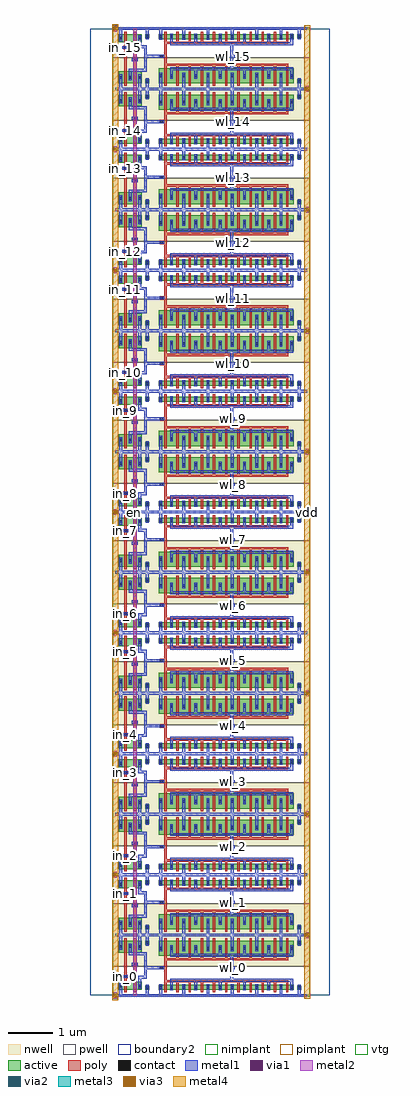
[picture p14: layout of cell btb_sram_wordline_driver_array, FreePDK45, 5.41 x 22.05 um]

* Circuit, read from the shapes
.subckt btb_sram_wordline_driver_array en gnd in_0 in_1 in_10 in_11 in_12 in_13 in_14 in_15 in_2 in_3 in_4 in_5 in_6 in_7 in_8 in_9 vdd wl_0 wl_1 wl_10 wl_11 wl_12 wl_13 wl_14 wl_15 wl_2 wl_3 wl_4 wl_5 wl_6 wl_7 wl_8 wl_9
M1 btb_sram_wordline_driver_0/btb_sram_pnand2_0/btb_sram_nmos_m1_w0_180_sm1_dactive_2/D in_0 gnd gnd nfet w=0.18u l=0.05u
M2 btb_sram_wordline_driver_1/btb_sram_pnand2_0/btb_sram_nmos_m1_w0_180_sm1_dactive_2/D in_1 gnd gnd nfet w=0.18u l=0.05u
M3 btb_sram_wordline_driver_2/btb_sram_pnand2_0/btb_sram_nmos_m1_w0_180_sm1_dactive_2/D in_2 gnd gnd nfet w=0.18u l=0.05u
M4 btb_sram_wordline_driver_3/btb_sram_pnand2_0/btb_sram_nmos_m1_w0_180_sm1_dactive_2/D in_3 gnd gnd nfet w=0.18u l=0.05u
M5 btb_sram_wordline_driver_4/btb_sram_pnand2_0/btb_sram_nmos_m1_w0_180_sm1_dactive_2/D in_4 gnd gnd nfet w=0.18u l=0.05u
M6 btb_sram_wordline_driver_5/btb_sram_pnand2_0/btb_sram_nmos_m1_w0_180_sm1_dactive_2/D in_5 gnd gnd nfet w=0.18u l=0.05u
M7 btb_sram_wordline_driver_6/btb_sram_pnand2_0/btb_sram_nmos_m1_w0_180_sm1_dactive_2/D in_6 gnd gnd nfet w=0.18u l=0.05u
M8 btb_sram_wordline_driver_7/btb_sram_pnand2_0/btb_sram_nmos_m1_w0_180_sm1_dactive_2/D in_7 gnd gnd nfet w=0.18u l=0.05u
M9 btb_sram_wordline_driver_8/btb_sram_pnand2_0/btb_sram_nmos_m1_w0_180_sm1_dactive_2/D in_8 gnd gnd nfet w=0.18u l=0.05u
M10 btb_sram_wordline_driver_9/btb_sram_pnand2_0/btb_sram_nmos_m1_w0_180_sm1_dactive_2/D in_9 gnd gnd nfet w=0.18u l=0.05u
M11 btb_sram_wordline_driver_10/btb_sram_pnand2_0/btb_sram_nmos_m1_w0_180_sm1_dactive_2/D in_10 gnd gnd nfet w=0.18u l=0.05u
M12 btb_sram_wordline_driver_11/btb_sram_pnand2_0/btb_sram_nmos_m1_w0_180_sm1_dactive_2/D in_11 gnd gnd nfet w=0.18u l=0.05u
M13 btb_sram_wordline_driver_12/btb_sram_pnand2_0/btb_sram_nmos_m1_w0_180_sm1_dactive_2/D in_12 gnd gnd nfet w=0.18u l=0.05u
M14 btb_sram_wordline_driver_13/btb_sram_pnand2_0/btb_sram_nmos_m1_w0_180_sm1_dactive_2/D in_13 gnd gnd nfet w=0.18u l=0.05u
M15 btb_sram_wordline_driver_14/btb_sram_pnand2_0/btb_sram_nmos_m1_w0_180_sm1_dactive_2/D in_14 gnd gnd nfet w=0.18u l=0.05u
M16 btb_sram_wordline_driver_15/btb_sram_pnand2_0/btb_sram_nmos_m1_w0_180_sm1_dactive_2/D in_15 gnd gnd nfet w=0.18u l=0.05u
M17 btb_sram_wordline_driver_0/btb_sram_pinv_0_1/A en btb_sram_wordline_driver_0/btb_sram_pnand2_0/btb_sram_nmos_m1_w0_180_sm1_dactive_2/D gnd nfet w=0.18u l=0.05u
M18 btb_sram_wordline_driver_1/btb_sram_pinv_0_1/A en btb_sram_wordline_driver_1/btb_sram_pnand2_0/btb_sram_nmos_m1_w0_180_sm1_dactive_2/D gnd nfet w=0.18u l=0.05u
M19 btb_sram_wordline_driver_2/btb_sram_pinv_0_1/A en btb_sram_wordline_driver_2/btb_sram_pnand2_0/btb_sram_nmos_m1_w0_180_sm1_dactive_2/D gnd nfet w=0.18u l=0.05u
M20 btb_sram_wordline_driver_3/btb_sram_pinv_0_1/A en btb_sram_wordline_driver_3/btb_sram_pnand2_0/btb_sram_nmos_m1_w0_180_sm1_dactive_2/D gnd nfet w=0.18u l=0.05u
M21 btb_sram_wordline_driver_4/btb_sram_pinv_0_1/A en btb_sram_wordline_driver_4/btb_sram_pnand2_0/btb_sram_nmos_m1_w0_180_sm1_dactive_2/D gnd nfet w=0.18u l=0.05u
M22 btb_sram_wordline_driver_5/btb_sram_pinv_0_1/A en btb_sram_wordline_driver_5/btb_sram_pnand2_0/btb_sram_nmos_m1_w0_180_sm1_dactive_2/D gnd nfet w=0.18u l=0.05u
M23 btb_sram_wordline_driver_6/btb_sram_pinv_0_1/A en btb_sram_wordline_driver_6/btb_sram_pnand2_0/btb_sram_nmos_m1_w0_180_sm1_dactive_2/D gnd nfet w=0.18u l=0.05u
M24 btb_sram_wordline_driver_7/btb_sram_pinv_0_1/A en btb_sram_wordline_driver_7/btb_sram_pnand2_0/btb_sram_nmos_m1_w0_180_sm1_dactive_2/D gnd nfet w=0.18u l=0.05u
M25 btb_sram_wordline_driver_8/btb_sram_pinv_0_1/A en btb_sram_wordline_driver_8/btb_sram_pnand2_0/btb_sram_nmos_m1_w0_180_sm1_dactive_2/D gnd nfet w=0.18u l=0.05u
M26 btb_sram_wordline_driver_9/btb_sram_pinv_0_1/A en btb_sram_wordline_driver_9/btb_sram_pnand2_0/btb_sram_nmos_m1_w0_180_sm1_dactive_2/D gnd nfet w=0.18u l=0.05u
M27 btb_sram_wordline_driver_10/btb_sram_pinv_0_1/A en btb_sram_wordline_driver_10/btb_sram_pnand2_0/btb_sram_nmos_m1_w0_180_sm1_dactive_2/D gnd nfet w=0.18u l=0.05u
M28 btb_sram_wordline_driver_11/btb_sram_pinv_0_1/A en btb_sram_wordline_driver_11/btb_sram_pnand2_0/btb_sram_nmos_m1_w0_180_sm1_dactive_2/D gnd nfet w=0.18u l=0.05u
M29 btb_sram_wordline_driver_12/btb_sram_pinv_0_1/A en btb_sram_wordline_driver_12/btb_sram_pnand2_0/btb_sram_nmos_m1_w0_180_sm1_dactive_2/D gnd nfet w=0.18u l=0.05u
M30 btb_sram_wordline_driver_13/btb_sram_pinv_0_1/A en btb_sram_wordline_driver_13/btb_sram_pnand2_0/btb_sram_nmos_m1_w0_180_sm1_dactive_2/D gnd nfet w=0.18u l=0.05u
M31 btb_sram_wordline_driver_14/btb_sram_pinv_0_1/A en btb_sram_wordline_driver_14/btb_sram_pnand2_0/btb_sram_nmos_m1_w0_180_sm1_dactive_2/D gnd nfet w=0.18u l=0.05u
M32 btb_sram_wordline_driver_15/btb_sram_pinv_0_1/A en btb_sram_wordline_driver_15/btb_sram_pnand2_0/btb_sram_nmos_m1_w0_180_sm1_dactive_2/D gnd nfet w=0.18u l=0.05u
M33 wl_0 btb_sram_wordline_driver_0/btb_sram_pinv_0_1/A gnd gnd nfet w=0.115u l=0.05u m=11
M34 wl_1 btb_sram_wordline_driver_1/btb_sram_pinv_0_1/A gnd gnd nfet w=0.115u l=0.05u m=11
M35 wl_2 btb_sram_wordline_driver_2/btb_sram_pinv_0_1/A gnd gnd nfet w=0.115u l=0.05u m=11
M36 wl_3 btb_sram_wordline_driver_3/btb_sram_pinv_0_1/A gnd gnd nfet w=0.115u l=0.05u m=11
M37 wl_4 btb_sram_wordline_driver_4/btb_sram_pinv_0_1/A gnd gnd nfet w=0.115u l=0.05u m=11
M38 wl_5 btb_sram_wordline_driver_5/btb_sram_pinv_0_1/A gnd gnd nfet w=0.115u l=0.05u m=11
M39 wl_6 btb_sram_wordline_driver_6/btb_sram_pinv_0_1/A gnd gnd nfet w=0.115u l=0.05u m=11
M40 wl_7 btb_sram_wordline_driver_7/btb_sram_pinv_0_1/A gnd gnd nfet w=0.115u l=0.05u m=11
M41 wl_8 btb_sram_wordline_driver_8/btb_sram_pinv_0_1/A gnd gnd nfet w=0.115u l=0.05u m=11
M42 wl_9 btb_sram_wordline_driver_9/btb_sram_pinv_0_1/A gnd gnd nfet w=0.115u l=0.05u m=11
M43 wl_10 btb_sram_wordline_driver_10/btb_sram_pinv_0_1/A gnd gnd nfet w=0.115u l=0.05u m=11
M44 wl_11 btb_sram_wordline_driver_11/btb_sram_pinv_0_1/A gnd gnd nfet w=0.115u l=0.05u m=11
M45 wl_12 btb_sram_wordline_driver_12/btb_sram_pinv_0_1/A gnd gnd nfet w=0.115u l=0.05u m=11
M46 wl_13 btb_sram_wordline_driver_13/btb_sram_pinv_0_1/A gnd gnd nfet w=0.115u l=0.05u m=11
M47 wl_14 btb_sram_wordline_driver_14/btb_sram_pinv_0_1/A gnd gnd nfet w=0.115u l=0.05u m=11
M48 wl_15 btb_sram_wordline_driver_15/btb_sram_pinv_0_1/A gnd gnd nfet w=0.115u l=0.05u m=11
M49 btb_sram_wordline_driver_0/btb_sram_pinv_0_1/A in_0 vdd vdd pfet w=0.27u l=0.05u
M50 btb_sram_wordline_driver_1/btb_sram_pinv_0_1/A in_1 vdd vdd pfet w=0.27u l=0.05u
M51 btb_sram_wordline_driver_2/btb_sram_pinv_0_1/A in_2 vdd vdd pfet w=0.27u l=0.05u
M52 btb_sram_wordline_driver_3/btb_sram_pinv_0_1/A in_3 vdd vdd pfet w=0.27u l=0.05u
M53 btb_sram_wordline_driver_4/btb_sram_pinv_0_1/A in_4 vdd vdd pfet w=0.27u l=0.05u
M54 btb_sram_wordline_driver_5/btb_sram_pinv_0_1/A in_5 vdd vdd pfet w=0.27u l=0.05u
M55 btb_sram_wordline_driver_6/btb_sram_pinv_0_1/A in_6 vdd vdd pfet w=0.27u l=0.05u
M56 btb_sram_wordline_driver_7/btb_sram_pinv_0_1/A in_7 vdd vdd pfet w=0.27u l=0.05u
M57 btb_sram_wordline_driver_8/btb_sram_pinv_0_1/A in_8 vdd vdd pfet w=0.27u l=0.05u
M58 btb_sram_wordline_driver_9/btb_sram_pinv_0_1/A in_9 vdd vdd pfet w=0.27u l=0.05u
M59 btb_sram_wordline_driver_10/btb_sram_pinv_0_1/A in_10 vdd vdd pfet w=0.27u l=0.05u
M60 btb_sram_wordline_driver_11/btb_sram_pinv_0_1/A in_11 vdd vdd pfet w=0.27u l=0.05u
M61 btb_sram_wordline_driver_12/btb_sram_pinv_0_1/A in_12 vdd vdd pfet w=0.27u l=0.05u
M62 btb_sram_wordline_driver_13/btb_sram_pinv_0_1/A in_13 vdd vdd pfet w=0.27u l=0.05u
M63 btb_sram_wordline_driver_14/btb_sram_pinv_0_1/A in_14 vdd vdd pfet w=0.27u l=0.05u
M64 btb_sram_wordline_driver_15/btb_sram_pinv_0_1/A in_15 vdd vdd pfet w=0.27u l=0.05u
M65 vdd en btb_sram_wordline_driver_0/btb_sram_pinv_0_1/A vdd pfet w=0.27u l=0.05u
M66 vdd en btb_sram_wordline_driver_1/btb_sram_pinv_0_1/A vdd pfet w=0.27u l=0.05u
M67 vdd en btb_sram_wordline_driver_2/btb_sram_pinv_0_1/A vdd pfet w=0.27u l=0.05u
M68 vdd en btb_sram_wordline_driver_3/btb_sram_pinv_0_1/A vdd pfet w=0.27u l=0.05u
M69 vdd en btb_sram_wordline_driver_4/btb_sram_pinv_0_1/A vdd pfet w=0.27u l=0.05u
M70 vdd en btb_sram_wordline_driver_5/btb_sram_pinv_0_1/A vdd pfet w=0.27u l=0.05u
M71 vdd en btb_sram_wordline_driver_6/btb_sram_pinv_0_1/A vdd pfet w=0.27u l=0.05u
M72 vdd en btb_sram_wordline_driver_7/btb_sram_pinv_0_1/A vdd pfet w=0.27u l=0.05u
M73 vdd en btb_sram_wordline_driver_8/btb_sram_pinv_0_1/A vdd pfet w=0.27u l=0.05u
M74 vdd en btb_sram_wordline_driver_9/btb_sram_pinv_0_1/A vdd pfet w=0.27u l=0.05u
M75 vdd en btb_sram_wordline_driver_10/btb_sram_pinv_0_1/A vdd pfet w=0.27u l=0.05u
M76 vdd en btb_sram_wordline_driver_11/btb_sram_pinv_0_1/A vdd pfet w=0.27u l=0.05u
M77 vdd en btb_sram_wordline_driver_12/btb_sram_pinv_0_1/A vdd pfet w=0.27u l=0.05u
M78 vdd en btb_sram_wordline_driver_13/btb_sram_pinv_0_1/A vdd pfet w=0.27u l=0.05u
M79 vdd en btb_sram_wordline_driver_14/btb_sram_pinv_0_1/A vdd pfet w=0.27u l=0.05u
M80 vdd en btb_sram_wordline_driver_15/btb_sram_pinv_0_1/A vdd pfet w=0.27u l=0.05u
M81 wl_0 btb_sram_wordline_driver_0/btb_sram_pinv_0_1/A vdd vdd pfet w=0.3425u l=0.05u m=11
M82 wl_1 btb_sram_wordline_driver_1/btb_sram_pinv_0_1/A vdd vdd pfet w=0.3425u l=0.05u m=11
M83 wl_2 btb_sram_wordline_driver_2/btb_sram_pinv_0_1/A vdd vdd pfet w=0.3425u l=0.05u m=11
M84 wl_3 btb_sram_wordline_driver_3/btb_sram_pinv_0_1/A vdd vdd pfet w=0.3425u l=0.05u m=11
M85 wl_4 btb_sram_wordline_driver_4/btb_sram_pinv_0_1/A vdd vdd pfet w=0.3425u l=0.05u m=11
M86 wl_5 btb_sram_wordline_driver_5/btb_sram_pinv_0_1/A vdd vdd pfet w=0.3425u l=0.05u m=11
M87 wl_6 btb_sram_wordline_driver_6/btb_sram_pinv_0_1/A vdd vdd pfet w=0.3425u l=0.05u m=11
M88 wl_7 btb_sram_wordline_driver_7/btb_sram_pinv_0_1/A vdd vdd pfet w=0.3425u l=0.05u m=11
M89 wl_8 btb_sram_wordline_driver_8/btb_sram_pinv_0_1/A vdd vdd pfet w=0.3425u l=0.05u m=11
M90 wl_9 btb_sram_wordline_driver_9/btb_sram_pinv_0_1/A vdd vdd pfet w=0.3425u l=0.05u m=11
M91 wl_10 btb_sram_wordline_driver_10/btb_sram_pinv_0_1/A vdd vdd pfet w=0.3425u l=0.05u m=11
M92 wl_11 btb_sram_wordline_driver_11/btb_sram_pinv_0_1/A vdd vdd pfet w=0.3425u l=0.05u m=11
M93 wl_12 btb_sram_wordline_driver_12/btb_sram_pinv_0_1/A vdd vdd pfet w=0.3425u l=0.05u m=11
M94 wl_13 btb_sram_wordline_driver_13/btb_sram_pinv_0_1/A vdd vdd pfet w=0.3425u l=0.05u m=11
M95 wl_14 btb_sram_wordline_driver_14/btb_sram_pinv_0_1/A vdd vdd pfet w=0.3425u l=0.05u m=11
M96 wl_15 btb_sram_wordline_driver_15/btb_sram_pinv_0_1/A vdd vdd pfet w=0.3425u l=0.05u m=11
.ends

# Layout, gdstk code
import gdstk
lib = gdstk.Library(unit=1e-6, precision=5e-10)
def R(c, l, rs):  # rectangles x0, y0, x1, y1
    for r in rs: c.add(gdstk.rectangle(r[:2], r[2:], *l))
def A(c, l, x, y, w, h, nx, ny, dx, dy):  # array of equal rectangles
    R(c, l, [(x+i*dx, y+j*dy, x+i*dx+w, y+j*dy+h) for i in range(nx) for j in range(ny)])
active = (1, 0)
pwell = (2, 0)
nwell = (3, 0)
nimplant = (4, 0)
pimplant = (5, 0)
vtg = (6, 0)
poly = (9, 0)
contact = (10, 0)
metal1 = (11, 0)
via1 = (12, 0)
metal2 = (13, 0)
via2 = (14, 0)
metal3 = (15, 0)
via3 = (16, 0)
metal4 = (17, 0)
boundary2 = (239, 0)

btb_sram_contact_11 = lib.new_cell('btb_sram_contact_11')
R(btb_sram_contact_11, active, [(0,0.0225,0.09,0.1125)])
R(btb_sram_contact_11, nwell, [(-0.055,-0.0325,0.145,0.1675)])
R(btb_sram_contact_11, pimplant, [(0,0.0225,0.09,0.1125)])
R(btb_sram_contact_11, contact, [(0.0125,0.035,0.0775,0.1)])
R(btb_sram_contact_11, metal1, [(0.0125,0,0.0775,0.135)])
R(btb_sram_contact_11, boundary2, [(-0.055,-0.0325,0.145,0.1675)])

btb_sram_pmos_m1_w0_270_ = lib.new_cell('btb_sram_pmos_m1_w0_270_sm1_dm1')
R(btb_sram_pmos_m1_w0_270_, active, [(0,0,0.305,0.27)])
R(btb_sram_pmos_m1_w0_270_, nwell, [(-0.08,-0.08,0.385,0.35)])
R(btb_sram_pmos_m1_w0_270_, pimplant, [(0,0,0.305,0.27)])
R(btb_sram_pmos_m1_w0_270_, vtg, [(-0.08,-0.08,0.385,0.35)])
R(btb_sram_pmos_m1_w0_270_, poly, [(0.1275,-0.055,0.1775,0.325), (0.1275,-0.055,0.1775,0.325)])
R(btb_sram_pmos_m1_w0_270_, metal1, [(0.0125,0.0675,0.0775,0.2025), (0.2275,0.0675,0.2925,0.2025)])
R(btb_sram_pmos_m1_w0_270_, boundary2, [(-0.08,-0.08,0.385,0.35)])
btb_sram_pmos_m1_w0_270_.add(gdstk.Reference(btb_sram_contact_11, (0,0.0675)))
btb_sram_pmos_m1_w0_270_.add(gdstk.Reference(btb_sram_contact_11, (0.215,0.0675)))
btb_sram_pmos_m1_w0_270_.add(gdstk.Label('G', (0.1525,0.135), layer=9, texttype=0))
btb_sram_pmos_m1_w0_270_.add(gdstk.Label('S', (0.045,0.135), layer=11, texttype=0))
btb_sram_pmos_m1_w0_270_.add(gdstk.Label('D', (0.26,0.135), layer=11, texttype=0))

btb_sram_contact_10 = lib.new_cell('btb_sram_contact_10')
R(btb_sram_contact_10, active, [(0,0.0225,0.09,0.1125)])
R(btb_sram_contact_10, pwell, [(-0.055,-0.0325,0.145,0.1675)])
R(btb_sram_contact_10, nimplant, [(0,0.0225,0.09,0.1125)])
R(btb_sram_contact_10, contact, [(0.0125,0.035,0.0775,0.1)])
R(btb_sram_contact_10, metal1, [(0.0125,0,0.0775,0.135)])
R(btb_sram_contact_10, boundary2, [(-0.055,-0.0325,0.145,0.1675)])

btb_sram_nmos_m1_w0_180_ = lib.new_cell('btb_sram_nmos_m1_w0_180_sm1_dactive')
R(btb_sram_nmos_m1_w0_180_, active, [(0,0,0.305,0.18), (0.215,0.045,0.305,0.135)])
R(btb_sram_nmos_m1_w0_180_, pwell, [(-0.08,-0.08,0.385,0.26)])
R(btb_sram_nmos_m1_w0_180_, nimplant, [(0,0,0.305,0.18)])
R(btb_sram_nmos_m1_w0_180_, vtg, [(-0.08,-0.08,0.385,0.26)])
R(btb_sram_nmos_m1_w0_180_, poly, [(0.1275,-0.055,0.1775,0.235), (0.1275,-0.055,0.1775,0.235)])
R(btb_sram_nmos_m1_w0_180_, metal1, [(0.0125,0.0225,0.0775,0.1575)])
R(btb_sram_nmos_m1_w0_180_, boundary2, [(-0.08,-0.08,0.385,0.26)])
btb_sram_nmos_m1_w0_180_.add(gdstk.Reference(btb_sram_contact_10, (0,0.0225)))
btb_sram_nmos_m1_w0_180_.add(gdstk.Label('G', (0.1525,0.09), layer=9, texttype=0))
btb_sram_nmos_m1_w0_180_.add(gdstk.Label('S', (0.045,0.09), layer=11, texttype=0))
btb_sram_nmos_m1_w0_180_.add(gdstk.Label('D', (0.26,0.09), layer=1, texttype=0))

c_btb_sram_nmos_m1_w0_180_ = lib.new_cell('btb_sram_nmos_m1_w0_180_sactive_dm1')
R(c_btb_sram_nmos_m1_w0_180_, active, [(0,0,0.305,0.18), (0,0.045,0.09,0.135)])
R(c_btb_sram_nmos_m1_w0_180_, pwell, [(-0.08,-0.08,0.385,0.26)])
R(c_btb_sram_nmos_m1_w0_180_, nimplant, [(0,0,0.305,0.18)])
R(c_btb_sram_nmos_m1_w0_180_, vtg, [(-0.08,-0.08,0.385,0.26)])
R(c_btb_sram_nmos_m1_w0_180_, poly, [(0.1275,-0.055,0.1775,0.235), (0.1275,-0.055,0.1775,0.235)])
R(c_btb_sram_nmos_m1_w0_180_, metal1, [(0.2275,0.0225,0.2925,0.1575)])
R(c_btb_sram_nmos_m1_w0_180_, boundary2, [(-0.08,-0.08,0.385,0.26)])
c_btb_sram_nmos_m1_w0_180_.add(gdstk.Reference(btb_sram_contact_10, (0.215,0.0225)))
c_btb_sram_nmos_m1_w0_180_.add(gdstk.Label('G', (0.1525,0.09), layer=9, texttype=0))
c_btb_sram_nmos_m1_w0_180_.add(gdstk.Label('S', (0.045,0.09), layer=1, texttype=0))
c_btb_sram_nmos_m1_w0_180_.add(gdstk.Label('D', (0.26,0.09), layer=11, texttype=0))

btb_sram_contact_12 = lib.new_cell('btb_sram_contact_12')
R(btb_sram_contact_12, active, [(0,0.0225,0.09,0.1125)])
R(btb_sram_contact_12, nwell, [(-0.055,-0.0325,0.145,0.1675)])
R(btb_sram_contact_12, nimplant, [(0,0.0225,0.09,0.1125)])
R(btb_sram_contact_12, contact, [(0.0125,0.035,0.0775,0.1)])
R(btb_sram_contact_12, metal1, [(0.0125,0,0.0775,0.135)])
R(btb_sram_contact_12, boundary2, [(-0.055,-0.0325,0.145,0.1675)])

btb_sram_contact_13 = lib.new_cell('btb_sram_contact_13')
R(btb_sram_contact_13, active, [(0,0.0225,0.09,0.1125)])
R(btb_sram_contact_13, pwell, [(-0.055,-0.0325,0.145,0.1675)])
R(btb_sram_contact_13, pimplant, [(0,0.0225,0.09,0.1125)])
R(btb_sram_contact_13, contact, [(0.0125,0.035,0.0775,0.1)])
R(btb_sram_contact_13, metal1, [(0.0125,0,0.0775,0.135)])
R(btb_sram_contact_13, boundary2, [(-0.055,-0.0325,0.145,0.1675)])

btb_sram_contact_14 = lib.new_cell('btb_sram_contact_14')
R(btb_sram_contact_14, poly, [(0.03,0,0.105,0.075)])
R(btb_sram_contact_14, contact, [(0.035,0.005,0.1,0.07)])
R(btb_sram_contact_14, metal1, [(0,0.005,0.135,0.07)])
R(btb_sram_contact_14, boundary2, [(0,0,0.135,0.075)])

btb_sram_pnand2 = lib.new_cell('btb_sram_pnand2')
R(btb_sram_pnand2, pwell, [(-0.055,-0.0325,0.9575,0.655)])
R(btb_sram_pnand2, nwell, [(-0.055,0.655,0.9575,1.4)])
R(btb_sram_pnand2, vtg, [(-0.055,-0.0325,0.9575,0.655), (-0.055,0.655,0.9575,1.4)])
R(btb_sram_pnand2, poly, [(0.2075,0.36,0.2575,0.915), (0.4225,0.36,0.4725,0.915), (0.2075,0.39,0.2325,0.465), (0.4225,0.67,0.4475,0.745)])
R(btb_sram_pnand2, metal1, [(0,-0.0325,0.9025,0.0325), (0.0925,-0.0325,0.1575,0.1475), (0.6925,0,0.7575,0.17), (0.5225,0.2825,0.5875,0.4125), (0.5225,0.38,0.5875,0.445), (0.555,0.38,0.685,0.445), (0.6525,0.38,0.7175,0.445), (0.165,0.395,0.3,0.46), (0.6525,0.4125,0.7175,0.94), (0.38,0.675,0.515,0.74), (0.3075,0.9075,0.3725,0.9725), (0.34,0.9075,0.685,0.9725), (0.6525,0.9075,0.7175,0.9725), (0.3075,0.94,0.3725,1.0375), (0.0925,1.0375,0.1575,1.3975), (0.5225,1.0375,0.5875,1.3975), (0.6925,1.195,0.7575,1.365), (0,1.3325,0.9025,1.3975)])
R(btb_sram_pnand2, boundary2, [(0,0,0.9025,1.365), (0,0,0.9025,1.365)])
btb_sram_pnand2.add(gdstk.Reference(btb_sram_pmos_m1_w0_270_, (0.08,0.97)))
btb_sram_pnand2.add(gdstk.Reference(btb_sram_pmos_m1_w0_270_, (0.295,0.97)))
btb_sram_pnand2.add(gdstk.Reference(btb_sram_nmos_m1_w0_180_, (0.08,0.125)))
btb_sram_pnand2.add(gdstk.Reference(c_btb_sram_nmos_m1_w0_180_, (0.295,0.125)))
btb_sram_pnand2.add(gdstk.Reference(btb_sram_contact_12, (0.68,1.1275)))
btb_sram_pnand2.add(gdstk.Reference(btb_sram_contact_13, (0.68,0.1025)))
btb_sram_pnand2.add(gdstk.Reference(btb_sram_contact_14, (0.165,0.39)))
btb_sram_pnand2.add(gdstk.Reference(btb_sram_contact_14, (0.38,0.67)))
btb_sram_pnand2.add(gdstk.Label('Z', (0.685,0.94), layer=11, texttype=0))
btb_sram_pnand2.add(gdstk.Label('gnd', (0.451,0), layer=11, texttype=0))
btb_sram_pnand2.add(gdstk.Label('vdd', (0.451,1.365), layer=11, texttype=0))
btb_sram_pnand2.add(gdstk.Label('A', (0.2325,0.4275), layer=11, texttype=0))
btb_sram_pnand2.add(gdstk.Label('B', (0.4475,0.7075), layer=11, texttype=0))

btb_sram_pmos_m11_w0_343 = lib.new_cell('btb_sram_pmos_m11_w0_343_sm1_dm1_da_p')
R(btb_sram_pmos_m11_w0_343, active, [(0,0,3.055,0.3425)])
R(btb_sram_pmos_m11_w0_343, nwell, [(-0.08,-0.08,3.135,0.4225)])
R(btb_sram_pmos_m11_w0_343, pimplant, [(0,0,3.055,0.3425)])
R(btb_sram_pmos_m11_w0_343, vtg, [(-0.08,-0.08,3.135,0.4225)])
A(btb_sram_pmos_m11_w0_343, poly, 0.1275, -0.055, 0.05, 0.4525, 11, 1, 0.275, 0)
R(btb_sram_pmos_m11_w0_343, poly, [(0.1275,-0.105,2.9275,-0.055)])
A(btb_sram_pmos_m11_w0_343, metal1, 0.2575, 0.005, 0.065, 0.165, 5, 1, 0.55, 0)
A(btb_sram_pmos_m11_w0_343, metal1, 0.5325, 0.105, 0.065, 0.135, 5, 1, 0.55, 0)
R(btb_sram_pmos_m11_w0_343, metal1, [(0.2575,-0.025,3.0425,0.04), (2.9775,0.005,3.0425,0.17), (0.0125,0.105,0.0775,0.24)])
R(btb_sram_pmos_m11_w0_343, boundary2, [(-0.08,-0.105,3.135,0.4225)])
btb_sram_pmos_m11_w0_343.add(gdstk.Reference(btb_sram_contact_11, (0,0.105)))
btb_sram_pmos_m11_w0_343.add(gdstk.Reference(btb_sram_contact_11, (0.245,0.105)))
btb_sram_pmos_m11_w0_343.add(gdstk.Reference(btb_sram_contact_11, (0.52,0.105)))
btb_sram_pmos_m11_w0_343.add(gdstk.Reference(btb_sram_contact_11, (0.795,0.105)))
btb_sram_pmos_m11_w0_343.add(gdstk.Reference(btb_sram_contact_11, (1.07,0.105)))
btb_sram_pmos_m11_w0_343.add(gdstk.Reference(btb_sram_contact_11, (1.345,0.105)))
btb_sram_pmos_m11_w0_343.add(gdstk.Reference(btb_sram_contact_11, (1.62,0.105)))
btb_sram_pmos_m11_w0_343.add(gdstk.Reference(btb_sram_contact_11, (1.895,0.105)))
btb_sram_pmos_m11_w0_343.add(gdstk.Reference(btb_sram_contact_11, (2.17,0.105)))
btb_sram_pmos_m11_w0_343.add(gdstk.Reference(btb_sram_contact_11, (2.445,0.105)))
btb_sram_pmos_m11_w0_343.add(gdstk.Reference(btb_sram_contact_11, (2.72,0.105)))
btb_sram_pmos_m11_w0_343.add(gdstk.Reference(btb_sram_contact_11, (2.965,0.105)))
btb_sram_pmos_m11_w0_343.add(gdstk.Label('G', (1.5275,-0.08), layer=9, texttype=0))
btb_sram_pmos_m11_w0_343.add(gdstk.Label('S', (0.565,0.1725), layer=11, texttype=0))
btb_sram_pmos_m11_w0_343.add(gdstk.Label('S', (2.765,0.1725), layer=11, texttype=0))
btb_sram_pmos_m11_w0_343.add(gdstk.Label('S', (1.665,0.1725), layer=11, texttype=0))
btb_sram_pmos_m11_w0_343.add(gdstk.Label('S', (1.115,0.1725), layer=11, texttype=0))
btb_sram_pmos_m11_w0_343.add(gdstk.Label('S', (0.045,0.1725), layer=11, texttype=0))
btb_sram_pmos_m11_w0_343.add(gdstk.Label('S', (2.215,0.1725), layer=11, texttype=0))
btb_sram_pmos_m11_w0_343.add(gdstk.Label('D', (1.65,0.0075), layer=11, texttype=0))

btb_sram_nmos_m11_w0_115 = lib.new_cell('btb_sram_nmos_m11_w0_115_sm1_dm1_da_p')
R(btb_sram_nmos_m11_w0_115, active, [(0,0,3.055,0.115)])
R(btb_sram_nmos_m11_w0_115, pwell, [(-0.08,-0.08,3.135,0.195)])
R(btb_sram_nmos_m11_w0_115, nimplant, [(0,0,3.055,0.115)])
R(btb_sram_nmos_m11_w0_115, vtg, [(-0.08,-0.08,3.135,0.195)])
A(btb_sram_nmos_m11_w0_115, poly, 0.1275, -0.055, 0.05, 0.225, 11, 1, 0.275, 0)
R(btb_sram_nmos_m11_w0_115, poly, [(0.1275,0.17,2.9275,0.22)])
A(btb_sram_nmos_m11_w0_115, metal1, 0.5325, -0.01, 0.065, 0.135, 5, 1, 0.55, 0)
A(btb_sram_nmos_m11_w0_115, metal1, 0.2575, 0.0575, 0.065, 0.165, 5, 1, 0.55, 0)
R(btb_sram_nmos_m11_w0_115, metal1, [(0.0125,-0.01,0.0775,0.125), (2.9775,0.0575,3.0425,0.2225), (0.2575,0.19,3.0425,0.255)])
R(btb_sram_nmos_m11_w0_115, boundary2, [(-0.08,-0.08,3.135,0.255)])
btb_sram_nmos_m11_w0_115.add(gdstk.Reference(btb_sram_contact_10, (0,-0.01)))
btb_sram_nmos_m11_w0_115.add(gdstk.Reference(btb_sram_contact_10, (0.245,-0.01)))
btb_sram_nmos_m11_w0_115.add(gdstk.Reference(btb_sram_contact_10, (0.52,-0.01)))
btb_sram_nmos_m11_w0_115.add(gdstk.Reference(btb_sram_contact_10, (0.795,-0.01)))
btb_sram_nmos_m11_w0_115.add(gdstk.Reference(btb_sram_contact_10, (1.07,-0.01)))
btb_sram_nmos_m11_w0_115.add(gdstk.Reference(btb_sram_contact_10, (1.345,-0.01)))
btb_sram_nmos_m11_w0_115.add(gdstk.Reference(btb_sram_contact_10, (1.62,-0.01)))
btb_sram_nmos_m11_w0_115.add(gdstk.Reference(btb_sram_contact_10, (1.895,-0.01)))
btb_sram_nmos_m11_w0_115.add(gdstk.Reference(btb_sram_contact_10, (2.17,-0.01)))
btb_sram_nmos_m11_w0_115.add(gdstk.Reference(btb_sram_contact_10, (2.445,-0.01)))
btb_sram_nmos_m11_w0_115.add(gdstk.Reference(btb_sram_contact_10, (2.72,-0.01)))
btb_sram_nmos_m11_w0_115.add(gdstk.Reference(btb_sram_contact_10, (2.965,-0.01)))
btb_sram_nmos_m11_w0_115.add(gdstk.Label('G', (1.5275,0.195), layer=9, texttype=0))
btb_sram_nmos_m11_w0_115.add(gdstk.Label('S', (0.565,0.0575), layer=11, texttype=0))
btb_sram_nmos_m11_w0_115.add(gdstk.Label('S', (2.765,0.0575), layer=11, texttype=0))
btb_sram_nmos_m11_w0_115.add(gdstk.Label('S', (0.045,0.0575), layer=11, texttype=0))
btb_sram_nmos_m11_w0_115.add(gdstk.Label('S', (1.115,0.0575), layer=11, texttype=0))
btb_sram_nmos_m11_w0_115.add(gdstk.Label('S', (2.215,0.0575), layer=11, texttype=0))
btb_sram_nmos_m11_w0_115.add(gdstk.Label('S', (1.665,0.0575), layer=11, texttype=0))
btb_sram_nmos_m11_w0_115.add(gdstk.Label('D', (1.65,0.2225), layer=11, texttype=0))

btb_sram_pinv_0 = lib.new_cell('btb_sram_pinv_0')
R(btb_sram_pinv_0, pwell, [(-0.055,-0.0325,3.4925,0.655)])
R(btb_sram_pinv_0, nwell, [(-0.055,0.655,3.4925,1.4)])
R(btb_sram_pinv_0, vtg, [(-0.055,-0.0325,3.4925,0.655), (-0.055,0.655,3.4925,1.4)])
R(btb_sram_pinv_0, poly, [(0.2075,0.345,0.2575,0.7925), (0.14,0.59,0.2075,0.665)])
A(btb_sram_pinv_0, metal1, 0.6125, -0.0325, 0.065, 0.1475, 5, 1, 0.55, 0)
A(btb_sram_pinv_0, metal1, 0.6125, 1.0025, 0.065, 0.395, 5, 1, 0.55, 0)
R(btb_sram_pinv_0, metal1, [(0,-0.0325,3.4375,0.0325), (0.0925,-0.0325,0.1575,0.115), (3.2275,0,3.2925,0.17), (1.6975,0.315,1.7625,0.9375), (0.0725,0.595,0.2075,0.66), (1.73,0.595,1.795,0.66), (0.0925,1.0025,0.1575,1.3975), (3.2275,1.195,3.2925,1.365), (0,1.3325,3.4375,1.3975)])
R(btb_sram_pinv_0, boundary2, [(0,0,3.4375,1.365), (0,0,3.4375,1.365)])
btb_sram_pinv_0.add(gdstk.Reference(btb_sram_pmos_m11_w0_343, (0.08,0.8975)))
btb_sram_pinv_0.add(gdstk.Reference(btb_sram_nmos_m11_w0_115, (0.08,0.125)))
btb_sram_pinv_0.add(gdstk.Reference(btb_sram_contact_12, (3.215,1.1275)))
btb_sram_pinv_0.add(gdstk.Reference(btb_sram_contact_13, (3.215,0.1025)))
btb_sram_pinv_0.add(gdstk.Reference(btb_sram_contact_14, (0.0725,0.59)))
btb_sram_pinv_0.add(gdstk.Label('A', (0.14,0.6275), layer=11, texttype=0))
btb_sram_pinv_0.add(gdstk.Label('Z', (1.7625,0.6275), layer=11, texttype=0))
btb_sram_pinv_0.add(gdstk.Label('gnd', (1.719,0), layer=11, texttype=0))
btb_sram_pinv_0.add(gdstk.Label('vdd', (1.719,1.365), layer=11, texttype=0))

btb_sram_wordline_driver = lib.new_cell('btb_sram_wordline_driver')
R(btb_sram_wordline_driver, metal1, [(0,-0.0325,4.34,0.0325), (0.165,0.395,0.3,0.46), (0.6525,0.595,0.7175,0.66), (0.685,0.595,1.0425,0.66), (2.6325,0.595,2.6975,0.66), (0.6525,0.6275,0.7175,0.94), (0.38,0.675,0.515,0.74), (0,1.3325,4.34,1.3975)])
R(btb_sram_wordline_driver, boundary2, [(0,0,4.34,1.365)])
btb_sram_wordline_driver.add(gdstk.Reference(btb_sram_pnand2, (0,0)))
btb_sram_wordline_driver.add(gdstk.Reference(btb_sram_pinv_0, (0.9025,0)))
btb_sram_wordline_driver.add(gdstk.Label('Z', (2.665,0.6275), layer=11, texttype=0))
btb_sram_wordline_driver.add(gdstk.Label('A', (0.2325,0.4275), layer=11, texttype=0))
btb_sram_wordline_driver.add(gdstk.Label('B', (0.4475,0.7075), layer=11, texttype=0))
btb_sram_wordline_driver.add(gdstk.Label('gnd', (2.17,0), layer=11, texttype=0))
btb_sram_wordline_driver.add(gdstk.Label('vdd', (2.17,1.365), layer=11, texttype=0))

btb_sram_contact_17 = lib.new_cell('btb_sram_contact_17')
R(btb_sram_contact_17, metal1, [(0,0.035,0.135,0.1)])
R(btb_sram_contact_17, via1, [(0.035,0.035,0.1,0.1)])
R(btb_sram_contact_17, metal2, [(0.0325,0,0.1025,0.135)])
R(btb_sram_contact_17, boundary2, [(0,0,0.135,0.135)])

btb_sram_contact_18 = lib.new_cell('btb_sram_contact_18')
R(btb_sram_contact_18, metal2, [(0.0325,0,0.1025,0.135)])
R(btb_sram_contact_18, via2, [(0.035,0.035,0.1,0.1)])
R(btb_sram_contact_18, metal3, [(0,0.0325,0.135,0.1025)])
R(btb_sram_contact_18, boundary2, [(0,0,0.135,0.135)])

btb_sram_contact_21 = lib.new_cell('btb_sram_contact_21')
R(btb_sram_contact_21, metal3, [(0,0.035,0.14,0.105)])
R(btb_sram_contact_21, via3, [(0.035,0.035,0.105,0.105)])
R(btb_sram_contact_21, metal4, [(0,0,0.14,0.14)])
R(btb_sram_contact_21, boundary2, [(0,0,0.14,0.14)])

c_btb_sram_wordline_driver = lib.new_cell('btb_sram_wordline_driver_array')
R(c_btb_sram_wordline_driver, metal1, [(0.725,0.395,0.86,0.46), (3.1925,0.595,3.2575,0.66), (3.1925,2.07,3.2575,2.135), (0.725,2.27,0.86,2.335), (0.725,3.125,0.86,3.19), (3.1925,3.325,3.2575,3.39), (3.1925,4.8,3.2575,4.865), (0.725,5,0.86,5.065), (0.725,5.855,0.86,5.92), (3.1925,6.055,3.2575,6.12), (3.1925,7.53,3.2575,7.595), (0.725,7.73,0.86,7.795), (0.725,8.585,0.86,8.65), (3.1925,8.785,3.2575,8.85), (3.1925,10.26,3.2575,10.325), (0.725,10.46,0.86,10.525), (0.725,11.315,0.86,11.38), (3.1925,11.515,3.2575,11.58), (3.1925,12.99,3.2575,13.055), (0.725,13.19,0.86,13.255), (0.725,14.045,0.86,14.11), (3.1925,14.245,3.2575,14.31), (3.1925,15.72,3.2575,15.785), (0.725,15.92,0.86,15.985), (0.725,16.775,0.86,16.84), (3.1925,16.975,3.2575,17.04), (3.1925,18.45,3.2575,18.515), (0.725,18.65,0.86,18.715), (0.725,19.505,0.86,19.57), (3.1925,19.705,3.2575,19.77), (3.1925,21.18,3.2575,21.245), (0.725,21.38,0.86,21.445)])
R(c_btb_sram_wordline_driver, metal2, [(0.9725,0,1.0425,21.84)])
R(c_btb_sram_wordline_driver, metal4, [(0.49,-0.1025,0.63,21.9425), (4.83,-0.07,4.97,21.91)])
R(c_btb_sram_wordline_driver, boundary2, [(0,0,5.405,21.84)])
c_btb_sram_wordline_driver.add(gdstk.Reference(btb_sram_wordline_driver, (0.56,0)))
c_btb_sram_wordline_driver.add(gdstk.Reference(btb_sram_wordline_driver, (0.56,2.73), x_reflection=True))
c_btb_sram_wordline_driver.add(gdstk.Reference(btb_sram_wordline_driver, (0.56,2.73)))
c_btb_sram_wordline_driver.add(gdstk.Reference(btb_sram_wordline_driver, (0.56,5.46), x_reflection=True))
c_btb_sram_wordline_driver.add(gdstk.Reference(btb_sram_wordline_driver, (0.56,5.46)))
c_btb_sram_wordline_driver.add(gdstk.Reference(btb_sram_wordline_driver, (0.56,8.19), x_reflection=True))
c_btb_sram_wordline_driver.add(gdstk.Reference(btb_sram_wordline_driver, (0.56,8.19)))
c_btb_sram_wordline_driver.add(gdstk.Reference(btb_sram_wordline_driver, (0.56,10.92), x_reflection=True))
c_btb_sram_wordline_driver.add(gdstk.Reference(btb_sram_wordline_driver, (0.56,10.92)))
c_btb_sram_wordline_driver.add(gdstk.Reference(btb_sram_wordline_driver, (0.56,13.65), x_reflection=True))
c_btb_sram_wordline_driver.add(gdstk.Reference(btb_sram_wordline_driver, (0.56,13.65)))
c_btb_sram_wordline_driver.add(gdstk.Reference(btb_sram_wordline_driver, (0.56,16.38), x_reflection=True))
c_btb_sram_wordline_driver.add(gdstk.Reference(btb_sram_wordline_driver, (0.56,16.38)))
c_btb_sram_wordline_driver.add(gdstk.Reference(btb_sram_wordline_driver, (0.56,19.11), x_reflection=True))
c_btb_sram_wordline_driver.add(gdstk.Reference(btb_sram_wordline_driver, (0.56,19.11)))
c_btb_sram_wordline_driver.add(gdstk.Reference(btb_sram_wordline_driver, (0.56,21.84), x_reflection=True))
c_btb_sram_wordline_driver.add(gdstk.Reference(btb_sram_contact_17, (0.94,0.64)))
c_btb_sram_wordline_driver.add(gdstk.Reference(btb_sram_contact_17, (0.94,1.955)))
c_btb_sram_wordline_driver.add(gdstk.Reference(btb_sram_contact_17, (0.94,3.37)))
c_btb_sram_wordline_driver.add(gdstk.Reference(btb_sram_contact_17, (0.94,4.685)))
c_btb_sram_wordline_driver.add(gdstk.Reference(btb_sram_contact_17, (0.94,6.1)))
c_btb_sram_wordline_driver.add(gdstk.Reference(btb_sram_contact_17, (0.94,7.415)))
c_btb_sram_wordline_driver.add(gdstk.Reference(btb_sram_contact_17, (0.94,8.83)))
c_btb_sram_wordline_driver.add(gdstk.Reference(btb_sram_contact_17, (0.94,10.145)))
c_btb_sram_wordline_driver.add(gdstk.Reference(btb_sram_contact_17, (0.94,11.56)))
c_btb_sram_wordline_driver.add(gdstk.Reference(btb_sram_contact_17, (0.94,12.875)))
c_btb_sram_wordline_driver.add(gdstk.Reference(btb_sram_contact_17, (0.94,14.29)))
c_btb_sram_wordline_driver.add(gdstk.Reference(btb_sram_contact_17, (0.94,15.605)))
c_btb_sram_wordline_driver.add(gdstk.Reference(btb_sram_contact_17, (0.94,17.02)))
c_btb_sram_wordline_driver.add(gdstk.Reference(btb_sram_contact_17, (0.94,18.335)))
c_btb_sram_wordline_driver.add(gdstk.Reference(btb_sram_contact_17, (0.94,19.75)))
c_btb_sram_wordline_driver.add(gdstk.Reference(btb_sram_contact_17, (0.94,21.065)))
c_btb_sram_wordline_driver.add(gdstk.Reference(btb_sram_contact_17, (4.8325,1.2975)))
c_btb_sram_wordline_driver.add(gdstk.Reference(btb_sram_contact_18, (4.8325,1.2975)))
c_btb_sram_wordline_driver.add(gdstk.Reference(btb_sram_contact_21, (4.83,1.295)))
c_btb_sram_wordline_driver.add(gdstk.Reference(btb_sram_contact_17, (4.8325,1.2975)))
c_btb_sram_wordline_driver.add(gdstk.Reference(btb_sram_contact_18, (4.8325,1.2975)))
c_btb_sram_wordline_driver.add(gdstk.Reference(btb_sram_contact_21, (4.83,1.295)))
c_btb_sram_wordline_driver.add(gdstk.Reference(btb_sram_contact_17, (4.8325,4.0275)))
c_btb_sram_wordline_driver.add(gdstk.Reference(btb_sram_contact_18, (4.8325,4.0275)))
c_btb_sram_wordline_driver.add(gdstk.Reference(btb_sram_contact_21, (4.83,4.025)))
c_btb_sram_wordline_driver.add(gdstk.Reference(btb_sram_contact_17, (4.8325,4.0275)))
c_btb_sram_wordline_driver.add(gdstk.Reference(btb_sram_contact_18, (4.8325,4.0275)))
c_btb_sram_wordline_driver.add(gdstk.Reference(btb_sram_contact_21, (4.83,4.025)))
c_btb_sram_wordline_driver.add(gdstk.Reference(btb_sram_contact_17, (4.8325,6.7575)))
c_btb_sram_wordline_driver.add(gdstk.Reference(btb_sram_contact_18, (4.8325,6.7575)))
c_btb_sram_wordline_driver.add(gdstk.Reference(btb_sram_contact_21, (4.83,6.755)))
c_btb_sram_wordline_driver.add(gdstk.Reference(btb_sram_contact_17, (4.8325,6.7575)))
c_btb_sram_wordline_driver.add(gdstk.Reference(btb_sram_contact_18, (4.8325,6.7575)))
c_btb_sram_wordline_driver.add(gdstk.Reference(btb_sram_contact_21, (4.83,6.755)))
c_btb_sram_wordline_driver.add(gdstk.Reference(btb_sram_contact_17, (4.8325,9.4875)))
c_btb_sram_wordline_driver.add(gdstk.Reference(btb_sram_contact_18, (4.8325,9.4875)))
c_btb_sram_wordline_driver.add(gdstk.Reference(btb_sram_contact_21, (4.83,9.485)))
c_btb_sram_wordline_driver.add(gdstk.Reference(btb_sram_contact_17, (4.8325,9.4875)))
c_btb_sram_wordline_driver.add(gdstk.Reference(btb_sram_contact_18, (4.8325,9.4875)))
c_btb_sram_wordline_driver.add(gdstk.Reference(btb_sram_contact_21, (4.83,9.485)))
c_btb_sram_wordline_driver.add(gdstk.Reference(btb_sram_contact_17, (4.8325,12.2175)))
c_btb_sram_wordline_driver.add(gdstk.Reference(btb_sram_contact_18, (4.8325,12.2175)))
c_btb_sram_wordline_driver.add(gdstk.Reference(btb_sram_contact_21, (4.83,12.215)))
c_btb_sram_wordline_driver.add(gdstk.Reference(btb_sram_contact_17, (4.8325,12.2175)))
c_btb_sram_wordline_driver.add(gdstk.Reference(btb_sram_contact_18, (4.8325,12.2175)))
c_btb_sram_wordline_driver.add(gdstk.Reference(btb_sram_contact_21, (4.83,12.215)))
c_btb_sram_wordline_driver.add(gdstk.Reference(btb_sram_contact_17, (4.8325,14.9475)))
c_btb_sram_wordline_driver.add(gdstk.Reference(btb_sram_contact_18, (4.8325,14.9475)))
c_btb_sram_wordline_driver.add(gdstk.Reference(btb_sram_contact_21, (4.83,14.945)))
c_btb_sram_wordline_driver.add(gdstk.Reference(btb_sram_contact_17, (4.8325,14.9475)))
c_btb_sram_wordline_driver.add(gdstk.Reference(btb_sram_contact_18, (4.8325,14.9475)))
c_btb_sram_wordline_driver.add(gdstk.Reference(btb_sram_contact_21, (4.83,14.945)))
c_btb_sram_wordline_driver.add(gdstk.Reference(btb_sram_contact_17, (4.8325,17.6775)))
c_btb_sram_wordline_driver.add(gdstk.Reference(btb_sram_contact_18, (4.8325,17.6775)))
c_btb_sram_wordline_driver.add(gdstk.Reference(btb_sram_contact_21, (4.83,17.675)))
c_btb_sram_wordline_driver.add(gdstk.Reference(btb_sram_contact_17, (4.8325,17.6775)))
c_btb_sram_wordline_driver.add(gdstk.Reference(btb_sram_contact_18, (4.8325,17.6775)))
c_btb_sram_wordline_driver.add(gdstk.Reference(btb_sram_contact_21, (4.83,17.675)))
c_btb_sram_wordline_driver.add(gdstk.Reference(btb_sram_contact_17, (4.8325,20.4075)))
c_btb_sram_wordline_driver.add(gdstk.Reference(btb_sram_contact_18, (4.8325,20.4075)))
c_btb_sram_wordline_driver.add(gdstk.Reference(btb_sram_contact_21, (4.83,20.405)))
c_btb_sram_wordline_driver.add(gdstk.Reference(btb_sram_contact_17, (4.8325,20.4075)))
c_btb_sram_wordline_driver.add(gdstk.Reference(btb_sram_contact_18, (4.8325,20.4075)))
c_btb_sram_wordline_driver.add(gdstk.Reference(btb_sram_contact_21, (4.83,20.405)))
c_btb_sram_wordline_driver.add(gdstk.Reference(btb_sram_contact_17, (0.4925,-0.0675)))
c_btb_sram_wordline_driver.add(gdstk.Reference(btb_sram_contact_18, (0.4925,-0.0675)))
c_btb_sram_wordline_driver.add(gdstk.Reference(btb_sram_contact_21, (0.49,-0.07)))
c_btb_sram_wordline_driver.add(gdstk.Reference(btb_sram_contact_17, (0.4925,2.6625)))
c_btb_sram_wordline_driver.add(gdstk.Reference(btb_sram_contact_18, (0.4925,2.6625)))
c_btb_sram_wordline_driver.add(gdstk.Reference(btb_sram_contact_21, (0.49,2.66)))
c_btb_sram_wordline_driver.add(gdstk.Reference(btb_sram_contact_17, (0.4925,2.6625)))
c_btb_sram_wordline_driver.add(gdstk.Reference(btb_sram_contact_18, (0.4925,2.6625)))
c_btb_sram_wordline_driver.add(gdstk.Reference(btb_sram_contact_21, (0.49,2.66)))
c_btb_sram_wordline_driver.add(gdstk.Reference(btb_sram_contact_17, (0.4925,5.3925)))
c_btb_sram_wordline_driver.add(gdstk.Reference(btb_sram_contact_18, (0.4925,5.3925)))
c_btb_sram_wordline_driver.add(gdstk.Reference(btb_sram_contact_21, (0.49,5.39)))
c_btb_sram_wordline_driver.add(gdstk.Reference(btb_sram_contact_17, (0.4925,5.3925)))
c_btb_sram_wordline_driver.add(gdstk.Reference(btb_sram_contact_18, (0.4925,5.3925)))
c_btb_sram_wordline_driver.add(gdstk.Reference(btb_sram_contact_21, (0.49,5.39)))
c_btb_sram_wordline_driver.add(gdstk.Reference(btb_sram_contact_17, (0.4925,8.1225)))
c_btb_sram_wordline_driver.add(gdstk.Reference(btb_sram_contact_18, (0.4925,8.1225)))
c_btb_sram_wordline_driver.add(gdstk.Reference(btb_sram_contact_21, (0.49,8.12)))
c_btb_sram_wordline_driver.add(gdstk.Reference(btb_sram_contact_17, (0.4925,8.1225)))
c_btb_sram_wordline_driver.add(gdstk.Reference(btb_sram_contact_18, (0.4925,8.1225)))
c_btb_sram_wordline_driver.add(gdstk.Reference(btb_sram_contact_21, (0.49,8.12)))
c_btb_sram_wordline_driver.add(gdstk.Reference(btb_sram_contact_17, (0.4925,10.8525)))
c_btb_sram_wordline_driver.add(gdstk.Reference(btb_sram_contact_18, (0.4925,10.8525)))
c_btb_sram_wordline_driver.add(gdstk.Reference(btb_sram_contact_21, (0.49,10.85)))
c_btb_sram_wordline_driver.add(gdstk.Reference(btb_sram_contact_17, (0.4925,10.8525)))
c_btb_sram_wordline_driver.add(gdstk.Reference(btb_sram_contact_18, (0.4925,10.8525)))
c_btb_sram_wordline_driver.add(gdstk.Reference(btb_sram_contact_21, (0.49,10.85)))
c_btb_sram_wordline_driver.add(gdstk.Reference(btb_sram_contact_17, (0.4925,13.5825)))
c_btb_sram_wordline_driver.add(gdstk.Reference(btb_sram_contact_18, (0.4925,13.5825)))
c_btb_sram_wordline_driver.add(gdstk.Reference(btb_sram_contact_21, (0.49,13.58)))
c_btb_sram_wordline_driver.add(gdstk.Reference(btb_sram_contact_17, (0.4925,13.5825)))
c_btb_sram_wordline_driver.add(gdstk.Reference(btb_sram_contact_18, (0.4925,13.5825)))
c_btb_sram_wordline_driver.add(gdstk.Reference(btb_sram_contact_21, (0.49,13.58)))
c_btb_sram_wordline_driver.add(gdstk.Reference(btb_sram_contact_17, (0.4925,16.3125)))
c_btb_sram_wordline_driver.add(gdstk.Reference(btb_sram_contact_18, (0.4925,16.3125)))
c_btb_sram_wordline_driver.add(gdstk.Reference(btb_sram_contact_21, (0.49,16.31)))
c_btb_sram_wordline_driver.add(gdstk.Reference(btb_sram_contact_17, (0.4925,16.3125)))
c_btb_sram_wordline_driver.add(gdstk.Reference(btb_sram_contact_18, (0.4925,16.3125)))
c_btb_sram_wordline_driver.add(gdstk.Reference(btb_sram_contact_21, (0.49,16.31)))
c_btb_sram_wordline_driver.add(gdstk.Reference(btb_sram_contact_17, (0.4925,19.0425)))
c_btb_sram_wordline_driver.add(gdstk.Reference(btb_sram_contact_18, (0.4925,19.0425)))
c_btb_sram_wordline_driver.add(gdstk.Reference(btb_sram_contact_21, (0.49,19.04)))
c_btb_sram_wordline_driver.add(gdstk.Reference(btb_sram_contact_17, (0.4925,19.0425)))
c_btb_sram_wordline_driver.add(gdstk.Reference(btb_sram_contact_18, (0.4925,19.0425)))
c_btb_sram_wordline_driver.add(gdstk.Reference(btb_sram_contact_21, (0.49,19.04)))
c_btb_sram_wordline_driver.add(gdstk.Reference(btb_sram_contact_17, (0.4925,21.7725)))
c_btb_sram_wordline_driver.add(gdstk.Reference(btb_sram_contact_18, (0.4925,21.7725)))
c_btb_sram_wordline_driver.add(gdstk.Reference(btb_sram_contact_21, (0.49,21.77)))
c_btb_sram_wordline_driver.add(gdstk.Label('en', (1.0075,10.92), layer=13, texttype=0))
c_btb_sram_wordline_driver.add(gdstk.Label('in_0', (0.7925,0.4275), layer=11, texttype=0))
c_btb_sram_wordline_driver.add(gdstk.Label('wl_0', (3.225,0.6275), layer=11, texttype=0))
c_btb_sram_wordline_driver.add(gdstk.Label('in_1', (0.7925,2.3025), layer=11, texttype=0))
c_btb_sram_wordline_driver.add(gdstk.Label('wl_1', (3.225,2.1025), layer=11, texttype=0))
c_btb_sram_wordline_driver.add(gdstk.Label('in_2', (0.7925,3.1575), layer=11, texttype=0))
c_btb_sram_wordline_driver.add(gdstk.Label('wl_2', (3.225,3.3575), layer=11, texttype=0))
c_btb_sram_wordline_driver.add(gdstk.Label('in_3', (0.7925,5.0325), layer=11, texttype=0))
c_btb_sram_wordline_driver.add(gdstk.Label('wl_3', (3.225,4.8325), layer=11, texttype=0))
c_btb_sram_wordline_driver.add(gdstk.Label('in_4', (0.7925,5.8875), layer=11, texttype=0))
c_btb_sram_wordline_driver.add(gdstk.Label('wl_4', (3.225,6.0875), layer=11, texttype=0))
c_btb_sram_wordline_driver.add(gdstk.Label('in_5', (0.7925,7.7625), layer=11, texttype=0))
c_btb_sram_wordline_driver.add(gdstk.Label('wl_5', (3.225,7.5625), layer=11, texttype=0))
c_btb_sram_wordline_driver.add(gdstk.Label('in_6', (0.7925,8.6175), layer=11, texttype=0))
c_btb_sram_wordline_driver.add(gdstk.Label('wl_6', (3.225,8.8175), layer=11, texttype=0))
c_btb_sram_wordline_driver.add(gdstk.Label('in_7', (0.7925,10.4925), layer=11, texttype=0))
c_btb_sram_wordline_driver.add(gdstk.Label('wl_7', (3.225,10.2925), layer=11, texttype=0))
c_btb_sram_wordline_driver.add(gdstk.Label('in_8', (0.7925,11.3475), layer=11, texttype=0))
c_btb_sram_wordline_driver.add(gdstk.Label('wl_8', (3.225,11.5475), layer=11, texttype=0))
c_btb_sram_wordline_driver.add(gdstk.Label('in_9', (0.7925,13.2225), layer=11, texttype=0))
c_btb_sram_wordline_driver.add(gdstk.Label('wl_9', (3.225,13.0225), layer=11, texttype=0))
c_btb_sram_wordline_driver.add(gdstk.Label('in_10', (0.7925,14.0775), layer=11, texttype=0))
c_btb_sram_wordline_driver.add(gdstk.Label('wl_10', (3.225,14.2775), layer=11, texttype=0))
c_btb_sram_wordline_driver.add(gdstk.Label('in_11', (0.7925,15.9525), layer=11, texttype=0))
c_btb_sram_wordline_driver.add(gdstk.Label('wl_11', (3.225,15.7525), layer=11, texttype=0))
c_btb_sram_wordline_driver.add(gdstk.Label('in_12', (0.7925,16.8075), layer=11, texttype=0))
c_btb_sram_wordline_driver.add(gdstk.Label('wl_12', (3.225,17.0075), layer=11, texttype=0))
c_btb_sram_wordline_driver.add(gdstk.Label('in_13', (0.7925,18.6825), layer=11, texttype=0))
c_btb_sram_wordline_driver.add(gdstk.Label('wl_13', (3.225,18.4825), layer=11, texttype=0))
c_btb_sram_wordline_driver.add(gdstk.Label('in_14', (0.7925,19.5375), layer=11, texttype=0))
c_btb_sram_wordline_driver.add(gdstk.Label('wl_14', (3.225,19.7375), layer=11, texttype=0))
c_btb_sram_wordline_driver.add(gdstk.Label('in_15', (0.7925,21.4125), layer=11, texttype=0))
c_btb_sram_wordline_driver.add(gdstk.Label('wl_15', (3.225,21.2125), layer=11, texttype=0))
c_btb_sram_wordline_driver.add(gdstk.Label('vdd', (4.9,10.92), layer=17, texttype=0))
c_btb_sram_wordline_driver.add(gdstk.Label('gnd', (0.56,10.92), layer=17, texttype=0))

lib.write_gds('btb_sram_wordline_driver_array.gds')
